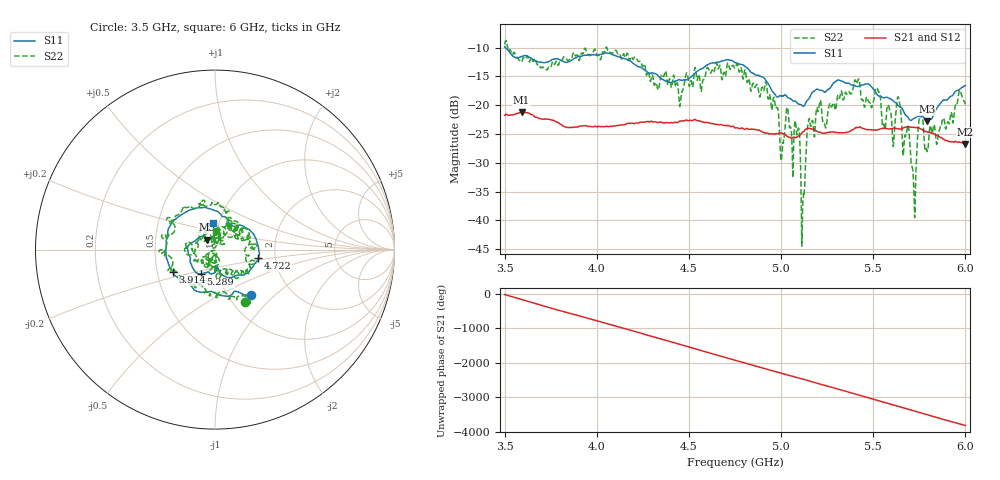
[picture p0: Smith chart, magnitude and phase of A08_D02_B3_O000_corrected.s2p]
! Created with skrf 1.9.0 (http://scikit-rf.org).
# Hz S RI R 50.0
!freq ReS11 ImS11 ReS21 ImS21 ReS12 ImS12 ReS22 ImS22
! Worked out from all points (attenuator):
!   1601 points, 3.5 GHz to 6 GHz, reference 50 ohm
!   highest |S21| = -21.21 dB at 3.592 GHz (marker M1); lowest = -26.7 dB at 5.998 GHz (marker M2)
!   lowest |S11| = -22.8 dB at 5.791 GHz (marker M3), VSWR 1.16, Z = 45.3 + j5.06 ohm
!   |S11| at or under -10 dB: 3.505 GHz to end of sweep
!   |S22| runs from -44.5 to -8.8 dB; largest |S21 - S12| = 0.00094
!   S11 on the Smith chart (normalised r, x): 3.5 GHz: 1.27, -0.72; 3.914 GHz: 0.60, -0.16; 4.722 GHz: 1.63, -0.17; 5.289 GHz: 0.82, -0.23; 6 GHz: 0.94, +0.28
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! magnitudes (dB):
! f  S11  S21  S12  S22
! 3.5 GHz  -9.8  -21.8  -21.7  -9.4
! 3.592 GHz  -11.5  -21.2  -21.2  -12.5
! 3.914 GHz  -11.5  -23.6  -23.6  -11.1
! 3.917 GHz  -11.5  -23.6  -23.6  -10.9
! 4.334 GHz  -14.9  -23.0  -22.9  -17.3
! 4.722 GHz  -12.2  -23.6  -23.6  -13.7
! 4.75 GHz  -12.6  -23.9  -23.9  -13.6
! 4.969 GHz  -18.2  -25.0  -24.9  -20.2
! 5.005 GHz  -18.4  -24.9  -24.9  -28.2
! 5.086 GHz  -19.6  -25.5  -25.5  -25.1
! 5.119 GHz  -20.2  -24.7  -24.6  -36.4
! 5.145 GHz  -19.1  -24.0  -24.0  -23.4
! 5.167 GHz  -17.9  -24.1  -24.1  -22.9
! 5.289 GHz  -16.0  -24.7  -24.7  -19.9
! 5.412 GHz  -16.8  -23.9  -23.9  -16.1
! 5.584 GHz  -18.8  -24.1  -24.1  -20.2
! 5.639 GHz  -20.2  -24.1  -24.1  -18.9
! 5.719 GHz  -22.3  -23.9  -23.8  -33.5
! 5.755 GHz  -22.0  -24.1  -24.0  -21.8
! 5.791 GHz  -22.8  -24.6  -24.6  -27.8
! 5.998 GHz  -16.6  -26.7  -26.6  -19.7
! 6 GHz  -16.6  -26.7  -26.6  -19.9
